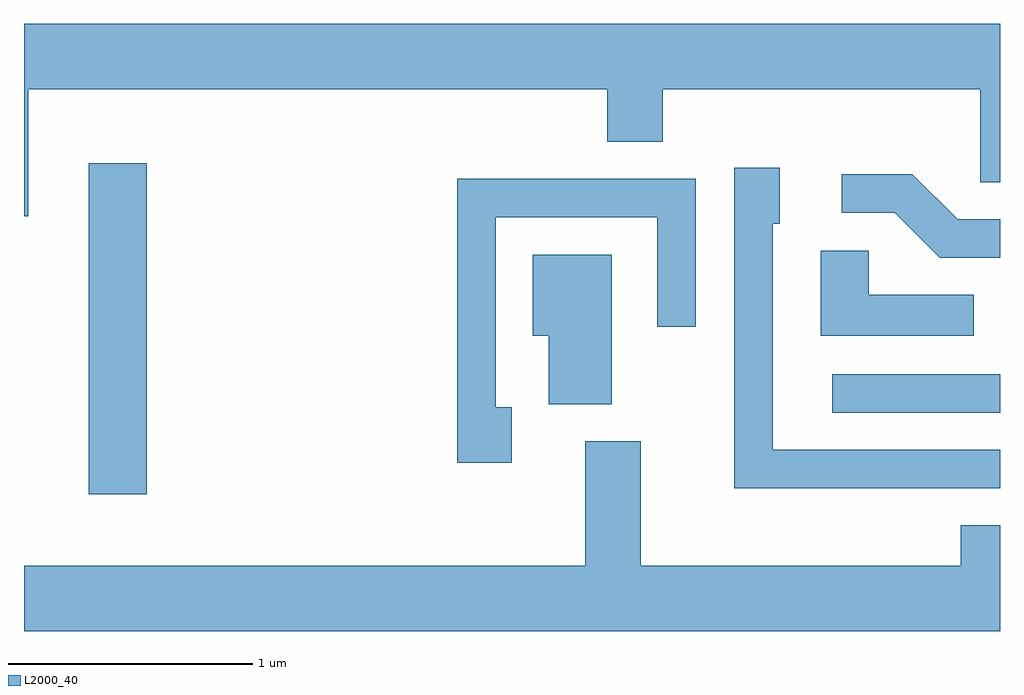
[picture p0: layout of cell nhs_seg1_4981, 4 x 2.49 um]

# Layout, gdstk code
import gdstk
lib = gdstk.Library(unit=1e-6, precision=1e-09)
def R(c, l, rs):  # rectangles x0, y0, x1, y1
    for r in rs: c.add(gdstk.rectangle(r[:2], r[2:], *l))
def P(c, l, *ps):  # polygons
    for p in ps: c.add(gdstk.Polygon(p, *l))
L2000_40 = (2000, 40)

nhs_seg1_4981 = lib.new_cell('nhs_seg1_4981')
R(nhs_seg1_4981, L2000_40, [(335.876,862.396,336.114,863.754), (338.923,862.731,339.611,862.889)])
P(nhs_seg1_4981, L2000_40, [(335.629,864.056),(338.001,864.056),(338.001,863.841),(338.229,863.841),(338.229,864.056),(339.531,864.056),(339.531,863.676),(339.611,863.676),(339.611,864.324),(335.611,864.324),(335.611,863.536),(335.629,863.536)],
  [(339.611,862.579),(338.679,862.579),(338.679,863.506),(338.709,863.506),(338.709,863.734),(338.521,863.734),(338.521,862.421),(339.611,862.421)],
  [(339.611,863.524),(339.437,863.524),(339.252,863.709),(338.963,863.709),(338.963,863.551),(339.179,863.551),(339.364,863.366),(339.611,863.366)],
  [(337.609,862.754),(337.544,862.754),(337.544,863.531),(338.206,863.531),(338.206,863.083),(338.364,863.083),(338.364,863.689),(337.386,863.689),(337.386,862.526),(337.609,862.526)],
  [(339.503,863.214),(339.074,863.214),(339.074,863.394),(338.876,863.394),(338.876,863.046),(339.503,863.046)],
  [(338.019,863.379),(337.696,863.379),(337.696,863.046),(337.761,863.046),(337.761,862.766),(338.019,862.766)],
  [(339.611,862.269),(339.451,862.269),(339.451,862.104),(338.139,862.104),(338.139,862.614),(337.911,862.614),(337.911,862.104),(335.611,862.104),(335.611,861.836),(339.611,861.836)])

lib.write_gds('nhs_seg1_4981.gds')
